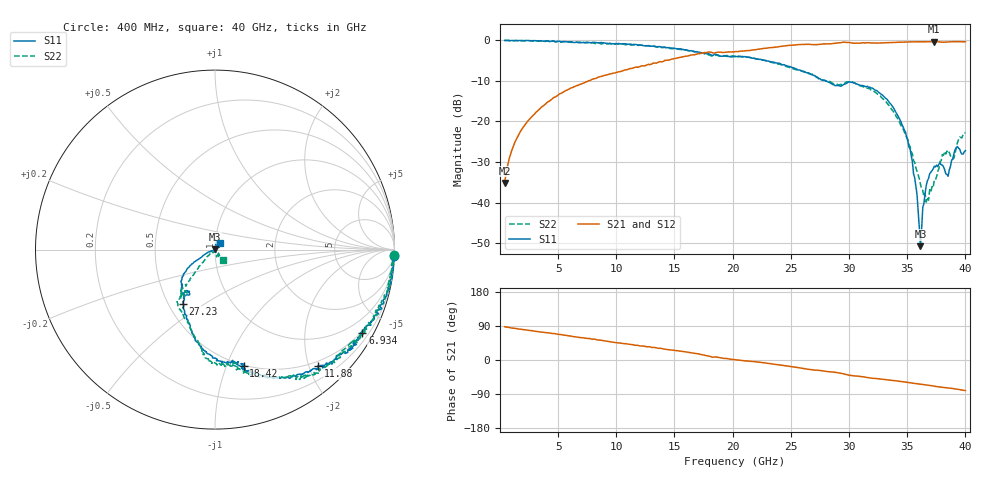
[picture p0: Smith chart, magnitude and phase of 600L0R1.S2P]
!  American Technical Ceramics  Date:  4/29/2005
!  One Norden Lane
!  Huntington Station,  NY.  11746-2102
!  Tel:  (631) 622-4700  Fax:  (631) 622-4748
!  Part Number  600L0R1  Mounting Orientation:  Horizontal
!  Description: Ultra Low ESR Microwave capacitors
!  Application: Coupling, Bypass, Tuning, DC Block
!  Filters, Matching
# GHZ S DB R 50
! Freq  |S11|  S11 Ph  |S21|  S21 Ph  |S12|  S12 Ph  |S22|  S22 Ph
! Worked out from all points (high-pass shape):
!   401 points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, 400 MHz to 40 GHz, reference 50 ohm
!   highest |S21| = -0.30 dB at 37.33 GHz (marker M1); lowest = -35.2 dB at 400 MHz (marker M2)
!   |S21| within 3 dB of the highest: 16.99 GHz to end of sweep
!   lowest |S11| = -50.8 dB at 36.14 GHz (marker M3), VSWR 1.01, Z = 49.9 + j0.263 ohm
!   |S11| at or under -10 dB: 28 GHz to end of sweep
!   |S22| runs from -39.9 to 0.0 dB; largest |S21 - S12| = 0.015
!   S11 on the Smith chart (normalised r, x): 400 MHz: 2, -56; 6.934 GHz: 0.44, -3.74; 11.88 GHz: 0.42, -2.15; 18.42 GHz: 0.49, -1.15; 27.23 GHz: 0.59, -0.41; 40 GHz: 1.05, +0.07
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0.4  -0.01 -2.0  -35.17 87.7  -35.21 87.4  -0.01 -1.8
1.192  -0.01 -6.6  -25.73 83.6  -25.81 83.4  -0.11 -5.0
2.38  -0.01 -10.5  -19.93 78.7  -20.01 78.3  -0.14 -11.5
6.934  -0.50 -29.6  -10.81 59.4  -10.86 59.4  -0.50 -29.4
7.033  -0.55 -29.9  -10.68 58.6  -10.66 59.7  -0.39 -29.5
11.884  -1.26 -48.5  -6.64 38.3  -6.54 37.9  -1.12 -53.3
13.666  -1.51 -57.6  -5.31 30.9  -5.31 30.3  -1.57 -59.2
18.418  -3.48 -76.2  -3.12 7.9  -3.17 8.0  -3.80 -79.5
20.2  -3.91 -82.3  -2.77 0.8  -2.81 0.7  -4.01 -88.2
26.833  -8.51 -117.6  -1.02 -25.8  -0.99 -25.7  -8.32 -121.8
27.229  -9.14 -120.6  -1.05 -27.0  -1.02 -27.2  -8.97 -125.4
30.496  -10.53 -129.2  -0.69 -42.1  -0.74 -42.3  -10.52 -129.8
33.466  -15.35 -146.2  -0.55 -52.9  -0.64 -52.8  -16.22 -132.0
35.05  -24.79 -155.5  -0.37 -59.2  -0.36 -59.5  -24.40 -138.3
35.545  -32.89 -163.0  -0.35 -61.4  -0.35 -61.2  -29.62 -140.8
36.139  -50.76 114.5  -0.36 -63.9  -0.37 -64.1  -35.47 -124.1
36.634  -35.80 32.8  -0.33 -65.8  -0.34 -65.8  -39.89 -88.0
37.327  -31.03 33.1  -0.30 -69.1  -0.30 -69.1  -34.44 -51.9
38.02  -30.75 36.4  -0.43 -72.0  -0.43 -72.3  -28.16 -55.4
38.515  -33.51 64.9  -0.39 -73.5  -0.40 -73.6  -27.82 -76.1
38.911  -29.22 81.6  -0.33 -75.2  -0.32 -75.3  -29.32 -72.8
40  -27.19 53.9  -0.33 -80.6  -0.34 -80.9  -22.82 -54.4
